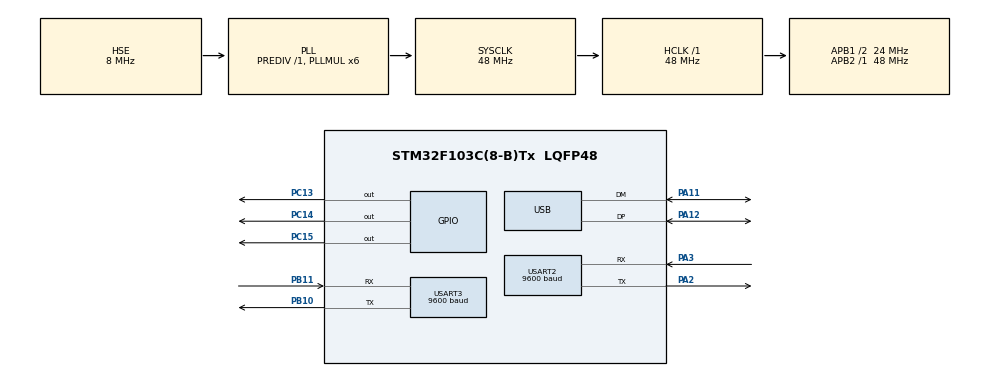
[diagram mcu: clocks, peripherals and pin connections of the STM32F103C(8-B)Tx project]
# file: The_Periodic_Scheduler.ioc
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Mcu.Family=STM32F1
Mcu.Name=STM32F103C(8-B)Tx
Mcu.Package=LQFP48
NVIC.PriorityGroup=NVIC_PRIORITYGROUP_4
NVIC.TIM1_UP_IRQn=true\:15\:0\:false\:false\:true\:false\:true
NVIC.TIM4_IRQn=true\:1\:0\:true\:false\:true\:true\:true
NVIC.TimeBase=TIM1_UP_IRQn
NVIC.TimeBaseIP=TIM1
NVIC.USB_LP_CAN1_RX0_IRQn=true\:0\:0\:false\:false\:true\:false\:true
PA11.Mode=Device
PA11.Signal=USB_DM
PA12.Mode=Device
PA12.Signal=USB_DP
PA13.Mode=Serial_Wire
PA13.Signal=SYS_JTMS-SWDIO
PA14.Mode=Serial_Wire
PA14.Signal=SYS_JTCK-SWCLK
PA2.Mode=Asynchronous
PA2.Signal=USART2_TX
PA3.Mode=Asynchronous
PA3.Signal=USART2_RX
PB10.Mode=Asynchronous
PB10.Signal=USART3_TX
PB11.Mode=Asynchronous
PB11.Signal=USART3_RX
PC13-TAMPER-RTC.Signal=GPIO_Output
PC14-OSC32_IN.Signal=GPIO_Output
PC15-OSC32_OUT.Signal=GPIO_Output
PD0-OSC_IN.Mode=HSE-External-Oscillator
PD0-OSC_IN.Signal=RCC_OSC_IN
PD1-OSC_OUT.Mode=HSE-External-Oscillator
PD1-OSC_OUT.Signal=RCC_OSC_OUT
ProjectManager.HeapSize=0x200
ProjectManager.StackSize=0x400
ProjectManager.TargetToolchain=MDK-ARM V5
RCC.AHBFreq_Value=48000000
RCC.APB1CLKDivider=RCC_HCLK_DIV2
RCC.APB1Freq_Value=24000000
RCC.APB1TimFreq_Value=48000000
RCC.APB2Freq_Value=48000000
RCC.APB2TimFreq_Value=48000000
RCC.HCLKFreq_Value=48000000
RCC.PLLMUL=RCC_PLL_MUL6
RCC.SYSCLKFreq_VALUE=48000000
RCC.SYSCLKSource=RCC_SYSCLKSOURCE_PLLCLK
RCC.USBFreq_Value=48000000
TIM4.AutoReloadPreload=TIM_AUTORELOAD_PRELOAD_ENABLE
TIM4.Period=9999
TIM4.Prescaler=480
USART2.BaudRate=9600
USART2.VirtualMode=VM_ASYNC
USART3.BaudRate=9600
USART3.VirtualMode=VM_ASYNC
USB_DEVICE.CLASS_NAME_FS=CDC
USB_DEVICE.VirtualMode=Cdc
USB_DEVICE.VirtualModeFS=Cdc_FS
VP_SYS_VS_tim1.Mode=TIM1
VP_TIM4_VS_ClockSourceINT.Mode=Internal
VP_USB_DEVICE_VS_USB_DEVICE_CDC_FS.Mode=CDC_FS
board=custom

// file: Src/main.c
/* USER CODE BEGIN Header */
/**
  ******************************************************************************
  * @file           : main.c
  * @brief          : Main program body
  ******************************************************************************
  * @attention
  *
  * <h2><center>&copy; Copyright (c) 2021 STMicroelectronics.
  * All rights reserved.</center></h2>
  *
  * This software component is licensed by ST under Ultimate Liberty license
  * SLA0044, the "License"; You may not use this file except in compliance with
  * the License. You may obtain a copy of the License at:
  *                             www.st.com/SLA0044
  *
  ******************************************************************************
  */
/* USER CODE END Header */
#include <stdio.h>
#include <stdint.h>
#include <string.h>
#include "main.h"
#include "usb_device.h"
#include "osKernel.h"

/* USER CODE BEGIN PM */
#define QUANTA 			1
/* USER CODE END PM */

TIM_HandleTypeDef htim4;

UART_HandleTypeDef huart2;
UART_HandleTypeDef huart3;

void SystemClock_Config(void);
static void MX_GPIO_Init(void);
static void MX_USART2_UART_Init(void);
static void MX_USART3_UART_Init(void);
static void MX_TIM4_Init(void);
/* USER CODE BEGIN PFP */
uint32_t counter1 = 0, counter2 = 0, counter3 = 0;
/* USER CODE END PFP */

/* USER CODE BEGIN 0 */
void Console_UART2(void)
{
	char *str = "Greetings from UART 2, this is the demostration RTOS application\n\r";
	while(1)
	{
		counter2++;
		HAL_UART_Transmit(&huart2, (uint8_t *)str, strlen(str), 1000);
		HAL_Delay(1000);
	}
}

void Console_UART3(void)
{
	char *str = "Greetings from UART 3, this is the demostration RTOS application\n\r";
	while(1)
	{
		counter3++;
		HAL_UART_Transmit(&huart3, (uint8_t *)str, strlen(str), 1000);
		HAL_Delay(100);
	}
}

void LED_C13_Task(void)
{
	while(1)
	{
		counter1++;
		//HAL_GPIO_TogglePin(GPIOC, GPIO_PIN_13);
		//HAL_Delay(100);
	}
}

void Task3(void)
{
	HAL_GPIO_TogglePin(GPIOC, GPIO_PIN_13);
}
/* USER CODE END 0 */

int main(void)
{

  /* MCU Configuration--------------------------------------------------------*/

  /* Reset of all peripherals, Initializes the Flash interface and the Systick. */
  HAL_Init();

  /* Configure the system clock */
  SystemClock_Config();

  /* Initialize all configured peripherals */
  MX_GPIO_Init();
  MX_USART2_UART_Init();
  MX_USART3_UART_Init();
  MX_USB_DEVICE_Init();
  MX_TIM4_Init();
	HAL_TIM_Base_Start_IT(&htim4);
  /* USER CODE BEGIN 2 */
	osKernelInit();
	osKernelAddThreads(&LED_C13_Task, &Console_UART2, &Console_UART3);
	osKernelLaunch(QUANTA);
  /* USER CODE END 2 */

  /* Infinite loop */
  while (1)
  {

  }
}

void SystemClock_Config(void)
{
  RCC_OscInitTypeDef RCC_OscInitStruct = {0};
  RCC_ClkInitTypeDef RCC_ClkInitStruct = {0};
  RCC_PeriphCLKInitTypeDef PeriphClkInit = {0};

  /** Initializes the RCC Oscillators according to the specified parameters
  * in the RCC_OscInitTypeDef structure.
  */
  RCC_OscInitStruct.OscillatorType = RCC_OSCILLATORTYPE_HSE;
  RCC_OscInitStruct.HSEState = RCC_HSE_ON;
  RCC_OscInitStruct.HSEPredivValue = RCC_HSE_PREDIV_DIV1;
  RCC_OscInitStruct.HSIState = RCC_HSI_ON;
  RCC_OscInitStruct.PLL.PLLState = RCC_PLL_ON;
  RCC_OscInitStruct.PLL.PLLSource = RCC_PLLSOURCE_HSE;
  RCC_OscInitStruct.PLL.PLLMUL = RCC_PLL_MUL6;
  if (HAL_RCC_OscConfig(&RCC_OscInitStruct) != HAL_OK)
  {
    Error_Handler();
  }
  /** Initializes the CPU, AHB and APB buses clocks
  */
  RCC_ClkInitStruct.ClockType = RCC_CLOCKTYPE_HCLK|RCC_CLOCKTYPE_SYSCLK
                              |RCC_CLOCKTYPE_PCLK1|RCC_CLOCKTYPE_PCLK2;
  RCC_ClkInitStruct.SYSCLKSource = RCC_SYSCLKSOURCE_PLLCLK;
  RCC_ClkInitStruct.AHBCLKDivider = RCC_SYSCLK_DIV1;
  RCC_ClkInitStruct.APB1CLKDivider = RCC_HCLK_DIV2;
  RCC_ClkInitStruct.APB2CLKDivider = RCC_HCLK_DIV1;

  if (HAL_RCC_ClockConfig(&RCC_ClkInitStruct, FLASH_LATENCY_1) != HAL_OK)
  {
    Error_Handler();
  }
  PeriphClkInit.PeriphClockSelection = RCC_PERIPHCLK_USB;
  PeriphClkInit.UsbClockSelection = RCC_USBCLKSOURCE_PLL;
  if (HAL_RCCEx_PeriphCLKConfig(&PeriphClkInit) != HAL_OK)
  {
    Error_Handler();
  }
}

static void MX_TIM4_Init(void)
{

  TIM_ClockConfigTypeDef sClockSourceConfig = {0};
  TIM_MasterConfigTypeDef sMasterConfig = {0};

  htim4.Instance = TIM4;
  htim4.Init.Prescaler = 480;
  htim4.Init.CounterMode = TIM_COUNTERMODE_UP;
  htim4.Init.Period = 9999;
  htim4.Init.ClockDivision = TIM_CLOCKDIVISION_DIV1;
  htim4.Init.AutoReloadPreload = TIM_AUTORELOAD_PRELOAD_ENABLE;
  if (HAL_TIM_Base_Init(&htim4) != HAL_OK)
  {
    Error_Handler();
  }
  sClockSourceConfig.ClockSource = TIM_CLOCKSOURCE_INTERNAL;
  if (HAL_TIM_ConfigClockSource(&htim4, &sClockSourceConfig) != HAL_OK)
  {
    Error_Handler();
  }
  sMasterConfig.MasterOutputTrigger = TIM_TRGO_RESET;
  sMasterConfig.MasterSlaveMode = TIM_MASTERSLAVEMODE_DISABLE;
  if (HAL_TIMEx_MasterConfigSynchronization(&htim4, &sMasterConfig) != HAL_OK)
  {
    Error_Handler();
  }

}

static void MX_USART2_UART_Init(void)
{

  huart2.Instance = USART2;
  huart2.Init.BaudRate = 9600;
  huart2.Init.WordLength = UART_WORDLENGTH_8B;
  huart2.Init.StopBits = UART_STOPBITS_1;
  huart2.Init.Parity = UART_PARITY_NONE;
  huart2.Init.Mode = UART_MODE_TX_RX;
  huart2.Init.HwFlowCtl = UART_HWCONTROL_NONE;
  huart2.Init.OverSampling = UART_OVERSAMPLING_16;
  if (HAL_UART_Init(&huart2) != HAL_OK)
  {
    Error_Handler();
  }

}

static void MX_USART3_UART_Init(void)
{

  huart3.Instance = USART3;
  huart3.Init.BaudRate = 9600;
  huart3.Init.WordLength = UART_WORDLENGTH_8B;
  huart3.Init.StopBits = UART_STOPBITS_1;
  huart3.Init.Parity = UART_PARITY_NONE;
  huart3.Init.Mode = UART_MODE_TX_RX;
  huart3.Init.HwFlowCtl = UART_HWCONTROL_NONE;
  huart3.Init.OverSampling = UART_OVERSAMPLING_16;
  if (HAL_UART_Init(&huart3) != HAL_OK)
  {
    Error_Handler();
  }

}

static void MX_GPIO_Init(void)
{
  GPIO_InitTypeDef GPIO_InitStruct = {0};

  /* GPIO Ports Clock Enable */
  __HAL_RCC_GPIOC_CLK_ENABLE();
  __HAL_RCC_GPIOD_CLK_ENABLE();
  __HAL_RCC_GPIOA_CLK_ENABLE();
  __HAL_RCC_GPIOB_CLK_ENABLE();

  /*Configure GPIO pin Output Level */
  HAL_GPIO_WritePin(GPIOC, GPIO_PIN_13|GPIO_PIN_14|GPIO_PIN_15, GPIO_PIN_RESET);

  /*Configure GPIO pins : PC13 PC14 PC15 */
  GPIO_InitStruct.Pin = GPIO_PIN_13|GPIO_PIN_14|GPIO_PIN_15;
  GPIO_InitStruct.Mode = GPIO_MODE_OUTPUT_PP;
  GPIO_InitStruct.Pull = GPIO_NOPULL;
  GPIO_InitStruct.Speed = GPIO_SPEED_FREQ_LOW;
  HAL_GPIO_Init(GPIOC, &GPIO_InitStruct);

}

void HAL_TIM_PeriodElapsedCallback(TIM_HandleTypeDef *htim)
{
  /* USER CODE BEGIN Callback 0 */
	if (htim->Instance == TIM4) {
		//HAL_GPIO_TogglePin(GPIOC, GPIO_PIN_13);
  }
  /* USER CODE END Callback 0 */
  if (htim->Instance == TIM1) {
    HAL_IncTick();
  }
}

void Error_Handler(void)
{
  __disable_irq();
  while (1)
  {
  }
}

/************************ (C) COPYRIGHT STMicroelectronics *****END OF FILE****/
